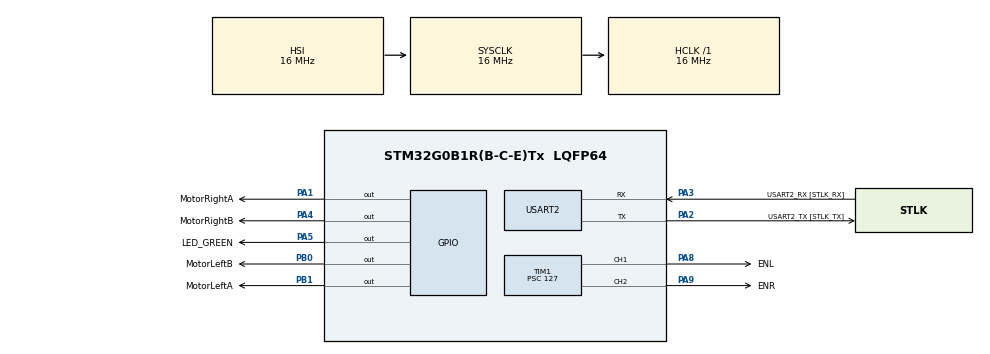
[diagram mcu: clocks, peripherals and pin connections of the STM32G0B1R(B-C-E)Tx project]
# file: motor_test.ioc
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Mcu.Family=STM32G0
Mcu.Name=STM32G0B1R(B-C-E)Tx
Mcu.Package=LQFP64
PA1.GPIO_Label=MotorRightA
PA1.Signal=GPIO_Output
PA13.GPIO_Label=TMS
PA13.Mode=Serial_Wire
PA13.Signal=SYS_SWDIO
PA14-BOOT0.GPIO_Label=TCK
PA14-BOOT0.Mode=Serial_Wire
PA14-BOOT0.Signal=SYS_SWCLK
PA2.GPIO_Label=USART2_TX [STLK_TX]
PA2.Mode=Asynchronous
PA2.Signal=USART2_TX
PA3.GPIO_Label=USART2_RX [STLK_RX]
PA3.Mode=Asynchronous
PA3.Signal=USART2_RX
PA4.GPIO_Label=MotorRightB
PA4.Signal=GPIO_Output
PA5.GPIO_Label=LED_GREEN
PA5.GPIO_Speed=GPIO_SPEED_FREQ_HIGH
PA5.Signal=GPIO_Output
PA8.GPIO_Label=ENL
PA8.Signal=S_TIM1_CH1
PA9.GPIO_Label=ENR
PA9.Signal=S_TIM1_CH2
PB0.GPIO_Label=MotorLeftB
PB0.PinState=GPIO_PIN_SET
PB0.Signal=GPIO_Output
PB1.GPIO_Label=MotorLeftA
PB1.Signal=GPIO_Output
PC13.Mode=SYS_WakeUp1
PC13.Signal=SYS_WKUP2
PC14-OSC32_IN\ (PC14).Mode=LSE-External-Oscillator
PC14-OSC32_IN\ (PC14).Signal=RCC_OSC32_IN
PC15-OSC32_OUT\ (PC15).Mode=LSE-External-Oscillator
PC15-OSC32_OUT\ (PC15).Signal=RCC_OSC32_OUT
PF0-OSC_IN\ (PF0).GPIO_Label=MCO
PF0-OSC_IN\ (PF0).Mode=HSE-External-Clock-Source
PF0-OSC_IN\ (PF0).Signal=RCC_OSC_IN
ProjectManager.HeapSize=0x200
ProjectManager.StackSize=0x400
ProjectManager.TargetToolchain=STM32CubeIDE
RCC.AHBFreq_Value=16000000
RCC.CortexFreq_Value=16000000
RCC.EXTERNAL_CLOCK_VALUE=12288000
RCC.HCLKFreq_Value=16000000
RCC.HSE_VALUE=8000000
RCC.HSI48_VALUE=48000000
RCC.HSI_VALUE=16000000
RCC.SYSCLKFreq_VALUE=16000000
RCC.USBFreq_Value=48000000
RCC.VCOOutputFreq_Value=128000000
SH.S_TIM1_CH1.0=TIM1_CH1,PWM Generation1 CH1
SH.S_TIM1_CH2.0=TIM1_CH2,PWM Generation2 CH2
TIM1.Channel-PWM\ Generation1\ CH1=TIM_CHANNEL_1
TIM1.Channel-PWM\ Generation2\ CH2=TIM_CHANNEL_2
TIM1.Period=625
TIM1.Prescaler=127
USART2.VirtualMode-Asynchronous=VM_ASYNC
VP_SYS_VS_DBSignals.Mode=DisableDeadBatterySignals
VP_TIM1_VS_ClockSourceINT.Mode=Internal
board=NUCLEO-G0B1RE

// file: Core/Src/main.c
/* USER CODE BEGIN Header */
/**
  ******************************************************************************
  * @file           : main.c
  * @brief          : Main program body
  ******************************************************************************
  * @attention
  *
  * Copyright (c) 2023 STMicroelectronics.
  * All rights reserved.
  *
  * This software is licensed under terms that can be found in the LICENSE file
  * in the root directory of this software component.
  * If no LICENSE file comes with this software, it is provided AS-IS.
  *
  ******************************************************************************
  */
/* USER CODE END Header */
#include "main.h"

TIM_HandleTypeDef htim1;

UART_HandleTypeDef huart2;

void SystemClock_Config(void);
static void MX_GPIO_Init(void);
static void MX_USART2_UART_Init(void);
static void MX_TIM1_Init(void);

/* USER CODE BEGIN 0 */

int Speed = 400;

/* USER CODE END 0 */

int main(void)
{

  /* MCU Configuration--------------------------------------------------------*/

  /* Reset of all peripherals, Initializes the Flash interface and the Systick. */
 000 HAL_Init();

  /* Configure the system clock */
  SystemClock_Config();

  /* Initialize all configured peripherals */
  MX_GPIO_Init();
  MX_USART2_UART_Init();
  MX_TIM1_Init();
  /* USER CODE BEGIN 2 */
  HAL_TIM_PWM_Start(&htim1, TIM_CHANNEL_1);
  HAL_TIM_PWM_Start(&htim1, TIM_CHANNEL_2);

  /* USER CODE END 2 */

  /* Infinite loop */
  /* USER CODE BEGIN WHILE */
  while (1)
  {

	  __HAL_TIM_SET_COMPARE(&htim1,TIM_CHANNEL_1,Speed);
	  __HAL_TIM_SET_COMPARE(&htim1,TIM_CHANNEL_2,Speed);
	  HAL_GPIO_WritePin(MotorLeftB_GPIO_Port, MotorLeftB_Pin, 0);
	  HAL_GPIO_WritePin(MotorLeftA_GPIO_Port, MotorLeftA_Pin, 1);

	  HAL_GPIO_WritePin(MotorRightB_GPIO_Port, MotorRightB_Pin, 0);
	  HAL_GPIO_WritePin(MotorRightA_GPIO_Port, MotorRightA_Pin, 1);
	  HAL_Delay(2000);

	  __HAL_TIM_SET_COMPARE(&htim1,TIM_CHANNEL_1,00);
	  __HAL_TIM_SET_COMPARE(&htim1,TIM_CHANNEL_2,00);
	  HAL_Delay(300);

	  __HAL_TIM_SET_COMPARE(&htim1,TIM_CHANNEL_1,Speed);
	  __HAL_TIM_SET_COMPARE(&htim1,TIM_CHANNEL_2,Speed);
	  HAL_GPIO_WritePin(MotorLeftB_GPIO_Port, MotorLeftB_Pin, GPIO_PIN_SET);
	  HAL_GPIO_WritePin(MotorLeftA_GPIO_Port, MotorLeftA_Pin, GPIO_PIN_RESET);

	  HAL_GPIO_WritePin(MotorRightB_GPIO_Port, MotorRightB_Pin, GPIO_PIN_RESET);
	  HAL_GPIO_WritePin(MotorRightA_GPIO_Port, MotorRightA_Pin, GPIO_PIN_SET);
	  HAL_Delay(500);

	  HAL_GPIO_WritePin(MotorLeftB_GPIO_Port, MotorLeftB_Pin, GPIO_PIN_RESET);
	  HAL_GPIO_WritePin(MotorLeftA_GPIO_Port, MotorLeftA_Pin, GPIO_PIN_SET);

	  HAL_GPIO_WritePin(MotorRightB_GPIO_Port, MotorRightB_Pin, GPIO_PIN_SET);
	  HAL_GPIO_WritePin(MotorRightA_GPIO_Port, MotorRightA_Pin, GPIO_PIN_RESET);
	  HAL_Delay(1000);

	  HAL_GPIO_WritePin(MotorLeftB_GPIO_Port, MotorLeftB_Pin, GPIO_PIN_SET);
	  HAL_GPIO_WritePin(MotorLeftA_GPIO_Port, MotorLeftA_Pin, GPIO_PIN_RESET);

	  HAL_GPIO_WritePin(MotorRightB_GPIO_Port, MotorRightB_Pin, GPIO_PIN_RESET);
	  HAL_GPIO_WritePin(MotorRightA_GPIO_Port, MotorRightA_Pin, GPIO_PIN_SET);
	  HAL_Delay(500);

	  __HAL_TIM_SET_COMPARE(&htim1,TIM_CHANNEL_1,00);
	  __HAL_TIM_SET_COMPARE(&htim1,TIM_CHANNEL_2,00);
	  HAL_Delay(300);

	  __HAL_TIM_SET_COMPARE(&htim1,TIM_CHANNEL_1,Speed);
	  __HAL_TIM_SET_COMPARE(&htim1,TIM_CHANNEL_2,Speed);
	  HAL_GPIO_WritePin(MotorLeftB_GPIO_Port, MotorLeftB_Pin, 1);
	  HAL_GPIO_WritePin(MotorLeftA_GPIO_Port, MotorLeftA_Pin, 0);

	  HAL_GPIO_WritePin(MotorRightB_GPIO_Port, MotorRightB_Pin, 1);
	  HAL_GPIO_WritePin(MotorRightA_GPIO_Port, MotorRightA_Pin, 0);
	  HAL_Delay(2000);
    /* USER CODE END WHILE */

  }
}

void SystemClock_Config(void)
{
  RCC_OscInitTypeDef RCC_OscInitStruct = {0};
  RCC_ClkInitTypeDef RCC_ClkInitStruct = {0};

  /** Configure the main internal regulator output voltage
  */
  HAL_PWREx_ControlVoltageScaling(PWR_REGULATOR_VOLTAGE_SCALE1);

  /** Initializes the RCC Oscillators according to the specified parameters
  * in the RCC_OscInitTypeDef structure.
  */
  RCC_OscInitStruct.OscillatorType = RCC_OSCILLATORTYPE_HSI;
  RCC_OscInitStruct.HSIState = RCC_HSI_ON;
  RCC_OscInitStruct.HSIDiv = RCC_HSI_DIV1;
  RCC_OscInitStruct.HSICalibrationValue = RCC_HSICALIBRATION_DEFAULT;
  RCC_OscInitStruct.PLL.PLLState = RCC_PLL_NONE;
  if (HAL_RCC_OscConfig(&RCC_OscInitStruct) != HAL_OK)
  {
    Error_Handler();
  }

  /** Initializes the CPU, AHB and APB buses clocks
  */
  RCC_ClkInitStruct.ClockType = RCC_CLOCKTYPE_HCLK|RCC_CLOCKTYPE_SYSCLK
                              |RCC_CLOCKTYPE_PCLK1;
  RCC_ClkInitStruct.SYSCLKSource = RCC_SYSCLKSOURCE_HSI;
  RCC_ClkInitStruct.AHBCLKDivider = RCC_SYSCLK_DIV1;
  RCC_ClkInitStruct.APB1CLKDivider = RCC_HCLK_DIV1;

  if (HAL_RCC_ClockConfig(&RCC_ClkInitStruct, FLASH_LATENCY_0) != HAL_OK)
  {
    Error_Handler();
  }
}

static void MX_TIM1_Init(void)
{

  TIM_ClockConfigTypeDef sClockSourceConfig = {0};
  TIM_MasterConfigTypeDef sMasterConfig = {0};
  TIM_OC_InitTypeDef sConfigOC = {0};
  TIM_BreakDeadTimeConfigTypeDef sBreakDeadTimeConfig = {0};

  htim1.Instance = TIM1;
  htim1.Init.Prescaler = 127;
  htim1.Init.CounterMode = TIM_COUNTERMODE_UP;
  htim1.Init.Period = 625;
  htim1.Init.ClockDivision = TIM_CLOCKDIVISION_DIV1;
  htim1.Init.RepetitionCounter = 0;
  htim1.Init.AutoReloadPreload = TIM_AUTORELOAD_PRELOAD_DISABLE;
  if (HAL_TIM_Base_Init(&htim1) != HAL_OK)
  {
    Error_Handler();
  }
  sClockSourceConfig.ClockSource = TIM_CLOCKSOURCE_INTERNAL;
  if (HAL_TIM_ConfigClockSource(&htim1, &sClockSourceConfig) != HAL_OK)
  {
    Error_Handler();
  }
  if (HAL_TIM_PWM_Init(&htim1) != HAL_OK)
  {
    Error_Handler();
  }
  sMasterConfig.MasterOutputTrigger = TIM_TRGO_RESET;
  sMasterConfig.MasterOutputTrigger2 = TIM_TRGO2_RESET;
  sMasterConfig.MasterSlaveMode = TIM_MASTERSLAVEMODE_DISABLE;
  if (HAL_TIMEx_MasterConfigSynchronization(&htim1, &sMasterConfig) != HAL_OK)
  {
    Error_Handler();
  }
  sConfigOC.OCMode = TIM_OCMODE_PWM1;
  sConfigOC.Pulse = 0;
  sConfigOC.OCPolarity = TIM_OCPOLARITY_HIGH;
  sConfigOC.OCNPolarity = TIM_OCNPOLARITY_HIGH;
  sConfigOC.OCFastMode = TIM_OCFAST_DISABLE;
  sConfigOC.OCIdleState = TIM_OCIDLESTATE_RESET;
  sConfigOC.OCNIdleState = TIM_OCNIDLESTATE_RESET;
  if (HAL_TIM_PWM_ConfigChannel(&htim1, &sConfigOC, TIM_CHANNEL_1) != HAL_OK)
  {
    Error_Handler();
  }
  if (HAL_TIM_PWM_ConfigChannel(&htim1, &sConfigOC, TIM_CHANNEL_2) != HAL_OK)
  {
    Error_Handler();
  }
  sBreakDeadTimeConfig.OffStateRunMode = TIM_OSSR_DISABLE;
  sBreakDeadTimeConfig.OffStateIDLEMode = TIM_OSSI_DISABLE;
  sBreakDeadTimeConfig.LockLevel = TIM_LOCKLEVEL_OFF;
  sBreakDeadTimeConfig.DeadTime = 0;
  sBreakDeadTimeConfig.BreakState = TIM_BREAK_DISABLE;
  sBreakDeadTimeConfig.BreakPolarity = TIM_BREAKPOLARITY_HIGH;
  sBreakDeadTimeConfig.BreakFilter = 0;
  sBreakDeadTimeConfig.BreakAFMode = TIM_BREAK_AFMODE_INPUT;
  sBreakDeadTimeConfig.Break2State = TIM_BREAK2_DISABLE;
  sBreakDeadTimeConfig.Break2Polarity = TIM_BREAK2POLARITY_HIGH;
  sBreakDeadTimeConfig.Break2Filter = 0;
  sBreakDeadTimeConfig.Break2AFMode = TIM_BREAK_AFMODE_INPUT;
  sBreakDeadTimeConfig.AutomaticOutput = TIM_AUTOMATICOUTPUT_DISABLE;
  if (HAL_TIMEx_ConfigBreakDeadTime(&htim1, &sBreakDeadTimeConfig) != HAL_OK)
  {
    Error_Handler();
  }
  HAL_TIM_MspPostInit(&htim1);

}

static void MX_USART2_UART_Init(void)
{

  huart2.Instance = USART2;
  huart2.Init.BaudRate = 115200;
  huart2.Init.WordLength = UART_WORDLENGTH_8B;
  huart2.Init.StopBits = UART_STOPBITS_1;
  huart2.Init.Parity = UART_PARITY_NONE;
  huart2.Init.Mode = UART_MODE_TX_RX;
  huart2.Init.HwFlowCtl = UART_HWCONTROL_NONE;
  huart2.Init.OverSampling = UART_OVERSAMPLING_16;
  huart2.Init.OneBitSampling = UART_ONE_BIT_SAMPLE_DISABLE;
  huart2.Init.ClockPrescaler = UART_PRESCALER_DIV1;
  huart2.AdvancedInit.AdvFeatureInit = UART_ADVFEATURE_NO_INIT;
  if (HAL_UART_Init(&huart2) != HAL_OK)
  {
    Error_Handler();
  }
  if (HAL_UARTEx_SetTxFifoThreshold(&huart2, UART_TXFIFO_THRESHOLD_1_8) != HAL_OK)
  {
    Error_Handler();
  }
  if (HAL_UARTEx_SetRxFifoThreshold(&huart2, UART_RXFIFO_THRESHOLD_1_8) != HAL_OK)
  {
    Error_Handler();
  }
  if (HAL_UARTEx_DisableFifoMode(&huart2) != HAL_OK)
  {
    Error_Handler();
  }

}

static void MX_GPIO_Init(void)
{
  GPIO_InitTypeDef GPIO_InitStruct = {0};

  /* GPIO Ports Clock Enable */
  __HAL_RCC_GPIOC_CLK_ENABLE();
  __HAL_RCC_GPIOF_CLK_ENABLE();
  __HAL_RCC_GPIOA_CLK_ENABLE();
  __HAL_RCC_GPIOB_CLK_ENABLE();

  /*Configure GPIO pin Output Level */
  HAL_GPIO_WritePin(GPIOA, MotorRightA_Pin|MotorRightB_Pin|LED_GREEN_Pin, GPIO_PIN_RESET);

  /*Configure GPIO pin Output Level */
  HAL_GPIO_WritePin(MotorLeftB_GPIO_Port, MotorLeftB_Pin, GPIO_PIN_SET);

  /*Configure GPIO pin Output Level */
  HAL_GPIO_WritePin(MotorLeftA_GPIO_Port, MotorLeftA_Pin, GPIO_PIN_RESET);

  /*Configure GPIO pins : MotorRightA_Pin MotorRightB_Pin */
  GPIO_InitStruct.Pin = MotorRightA_Pin|MotorRightB_Pin;
  GPIO_InitStruct.Mode = GPIO_MODE_OUTPUT_PP;
  GPIO_InitStruct.Pull = GPIO_NOPULL;
  GPIO_InitStruct.Speed = GPIO_SPEED_FREQ_LOW;
  HAL_GPIO_Init(GPIOA, &GPIO_InitStruct);

  /*Configure GPIO pin : LED_GREEN_Pin */
  GPIO_InitStruct.Pin = LED_GREEN_Pin;
  GPIO_InitStruct.Mode = GPIO_MODE_OUTPUT_PP;
  GPIO_InitStruct.Pull = GPIO_NOPULL;
  GPIO_InitStruct.Speed = GPIO_SPEED_FREQ_HIGH;
  HAL_GPIO_Init(LED_GREEN_GPIO_Port, &GPIO_InitStruct);

  /*Configure GPIO pins : MotorLeftB_Pin MotorLeftA_Pin */
  GPIO_InitStruct.Pin = MotorLeftB_Pin|MotorLeftA_Pin;
  GPIO_InitStruct.Mode = GPIO_MODE_OUTPUT_PP;
  GPIO_InitStruct.Pull = GPIO_NOPULL;
  GPIO_InitStruct.Speed = GPIO_SPEED_FREQ_LOW;
  HAL_GPIO_Init(GPIOB, &GPIO_InitStruct);

}

void Error_Handler(void)
{
  __disable_irq();
  while (1)
  {
  }
}
